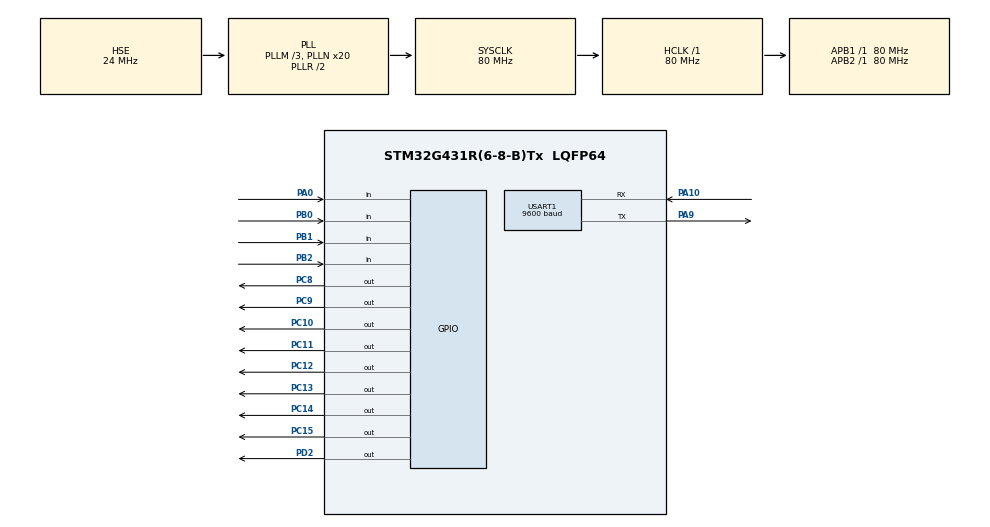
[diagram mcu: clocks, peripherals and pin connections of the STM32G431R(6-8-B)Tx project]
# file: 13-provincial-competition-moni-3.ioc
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Mcu.Family=STM32G4
Mcu.Name=STM32G431R(6-8-B)Tx
Mcu.Package=LQFP64
NVIC.PriorityGroup=NVIC_PRIORITYGROUP_4
NVIC.TIM1_UP_TIM16_IRQn=true\:0\:0\:false\:false\:true\:true\:true\:true
NVIC.TIM3_IRQn=true\:0\:0\:false\:false\:true\:true\:true\:true
NVIC.USART1_IRQn=true\:0\:0\:false\:false\:true\:true\:true\:true
PA0.GPIO_PuPd=GPIO_PULLUP
PA0.Signal=GPIO_Input
PA10.Mode=Asynchronous
PA10.Signal=USART1_RX
PA13.Mode=Serial_Wire
PA13.Signal=SYS_JTMS-SWDIO
PA14.Mode=Serial_Wire
PA14.Signal=SYS_JTCK-SWCLK
PA9.Mode=Asynchronous
PA9.Signal=USART1_TX
PB0.GPIO_PuPd=GPIO_PULLUP
PB0.Signal=GPIO_Input
PB1.GPIO_PuPd=GPIO_PULLUP
PB1.Signal=GPIO_Input
PB2.GPIO_PuPd=GPIO_PULLUP
PB2.Signal=GPIO_Input
PC10.PinState=GPIO_PIN_SET
PC10.Signal=GPIO_Output
PC11.PinState=GPIO_PIN_SET
PC11.Signal=GPIO_Output
PC12.PinState=GPIO_PIN_SET
PC12.Signal=GPIO_Output
PC13.PinState=GPIO_PIN_SET
PC13.Signal=GPIO_Output
PC14-OSC32_IN.PinState=GPIO_PIN_SET
PC14-OSC32_IN.Signal=GPIO_Output
PC15-OSC32_OUT.PinState=GPIO_PIN_SET
PC15-OSC32_OUT.Signal=GPIO_Output
PC8.PinState=GPIO_PIN_SET
PC8.Signal=GPIO_Output
PC9.PinState=GPIO_PIN_SET
PC9.Signal=GPIO_Output
PD2.Signal=GPIO_Output
PF0-OSC_IN.Mode=HSE-External-Oscillator
PF0-OSC_IN.Signal=RCC_OSC_IN
PF1-OSC_OUT.Mode=HSE-External-Oscillator
PF1-OSC_OUT.Signal=RCC_OSC_OUT
ProjectManager.HeapSize=0x200
ProjectManager.StackSize=0x400
ProjectManager.TargetToolchain=MDK-ARM V5.32
RCC.ADC12Freq_Value=80000000
RCC.AHBFreq_Value=80000000
RCC.APB1Freq_Value=80000000
RCC.APB1TimFreq_Value=80000000
RCC.APB2Freq_Value=80000000
RCC.APB2TimFreq_Value=80000000
RCC.CortexFreq_Value=80000000
RCC.EXTERNAL_CLOCK_VALUE=12288000
RCC.HCLKFreq_Value=80000000
RCC.HSE_VALUE=24000000
RCC.HSI48_VALUE=48000000
RCC.HSI_VALUE=16000000
RCC.LSE_VALUE=32768
RCC.PLLM=RCC_PLLM_DIV3
RCC.PLLN=20
RCC.PLLSourceVirtual=RCC_PLLSOURCE_HSE
RCC.SYSCLKFreq_VALUE=80000000
RCC.SYSCLKSource=RCC_SYSCLKSOURCE_PLLCLK
RCC.USBFreq_Value=80000000
RCC.VCOOutputFreq_Value=160000000
TIM16.Prescaler=80-1
TIM3.PeriodNoDither=10000-1
TIM3.Prescaler=8000-1
TIM4.Prescaler=8000-1
USART1.BaudRate=9600
USART1.VirtualMode-Asynchronous=VM_ASYNC
VP_SYS_VS_DBSignals.Mode=DisableDeadBatterySignals
VP_TIM16_VS_ClockSourceINT.Mode=Enable_Timer
VP_TIM3_VS_ClockSourceINT.Mode=Internal
VP_TIM4_VS_ClockSourceINT.Mode=Internal
board=custom

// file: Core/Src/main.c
/* USER CODE BEGIN Header */
/**
  ******************************************************************************
  * @file           : main.c
  * @brief          : Main program body
  ******************************************************************************
  * @attention
  *
  * Copyright (c) 2025 STMicroelectronics.
  * All rights reserved.
  *
  * This software is licensed under terms that can be found in the LICENSE file
  * in the root directory of this software component.
  * If no LICENSE file comes with this software, it is provided AS-IS.
  *
  ******************************************************************************
  */
/* USER CODE END Header */
#include "main.h"
#include "tim.h"
#include "usart.h"
#include "gpio.h"

/* USER CODE BEGIN Includes */
#include "stdio.h"
#include "stdint.h"
#include "string.h"
#include "lcd.h"
/* USER CODE END Includes */

/* USER CODE BEGIN PV */
char text[20];
double V=0;
uint16_t F=0, N=0;
uint8_t rec_data, count=0, rec_falg=0;
char send_buff[255], rec_buff[255];
uint8_t led1_flag=0, led1_cnt=0, led2_flag=0;
/* USER CODE END PV */

void SystemClock_Config(void);
/* USER CODE BEGIN PFP */
void LCD_Proc(void);
void LED_Proc(void);
void USART_Proc(void);
void LED_Show(uint8_t led, uint8_t mode);
/* USER CODE END PFP */

int main(void)
{

  /* MCU Configuration--------------------------------------------------------*/

  /* Reset of all peripherals, Initializes the Flash interface and the Systick. */
  HAL_Init();

  /* Configure the system clock */
  SystemClock_Config();

  /* Initialize all configured peripherals */
  MX_GPIO_Init();
  MX_USART1_UART_Init();
  MX_TIM4_Init();
  MX_TIM3_Init();
  MX_TIM16_Init();
  /* USER CODE BEGIN 2 */
    // LCD
    LCD_Init();
    LCD_Clear(Black);
    LCD_SetBackColor(Black);
    LCD_SetTextColor(White);
    // TIM
    HAL_TIM_Base_Start(&htim4);
    HAL_TIM_Base_Start_IT(&htim3);
    // UART
    HAL_UART_Receive_IT(&huart1, &rec_data, 1);
  /* USER CODE END 2 */

  /* Infinite loop */
  /* USER CODE BEGIN WHILE */
  while (1)
  {
      LCD_Proc();
      USART_Proc();
      LED_Proc();
    /* USER CODE END WHILE */

  }
}

void SystemClock_Config(void)
{
  RCC_OscInitTypeDef RCC_OscInitStruct = {0};
  RCC_ClkInitTypeDef RCC_ClkInitStruct = {0};

  /** Configure the main internal regulator output voltage
  */
  HAL_PWREx_ControlVoltageScaling(PWR_REGULATOR_VOLTAGE_SCALE1);

  /** Initializes the RCC Oscillators according to the specified parameters
  * in the RCC_OscInitTypeDef structure.
  */
  RCC_OscInitStruct.OscillatorType = RCC_OSCILLATORTYPE_HSE;
  RCC_OscInitStruct.HSEState = RCC_HSE_ON;
  RCC_OscInitStruct.PLL.PLLState = RCC_PLL_ON;
  RCC_OscInitStruct.PLL.PLLSource = RCC_PLLSOURCE_HSE;
  RCC_OscInitStruct.PLL.PLLM = RCC_PLLM_DIV3;
  RCC_OscInitStruct.PLL.PLLN = 20;
  RCC_OscInitStruct.PLL.PLLP = RCC_PLLP_DIV2;
  RCC_OscInitStruct.PLL.PLLQ = RCC_PLLQ_DIV2;
  RCC_OscInitStruct.PLL.PLLR = RCC_PLLR_DIV2;
  if (HAL_RCC_OscConfig(&RCC_OscInitStruct) != HAL_OK)
  {
    Error_Handler();
  }

  /** Initializes the CPU, AHB and APB buses clocks
  */
  RCC_ClkInitStruct.ClockType = RCC_CLOCKTYPE_HCLK|RCC_CLOCKTYPE_SYSCLK
                              |RCC_CLOCKTYPE_PCLK1|RCC_CLOCKTYPE_PCLK2;
  RCC_ClkInitStruct.SYSCLKSource = RCC_SYSCLKSOURCE_PLLCLK;
  RCC_ClkInitStruct.AHBCLKDivider = RCC_SYSCLK_DIV1;
  RCC_ClkInitStruct.APB1CLKDivider = RCC_HCLK_DIV1;
  RCC_ClkInitStruct.APB2CLKDivider = RCC_HCLK_DIV1;

  if (HAL_RCC_ClockConfig(&RCC_ClkInitStruct, FLASH_LATENCY_2) != HAL_OK)
  {
    Error_Handler();
  }
}

/* USER CODE BEGIN 4 */
void LCD_Proc(void){
    sprintf(text, "        DATA        ");
    LCD_DisplayStringLine(Line2, (uint8_t*)text);
    sprintf(text, "    V:%.2fV         ", V);
    LCD_DisplayStringLine(Line4, (uint8_t*)text);
    sprintf(text, "    F:%dHz", F);
    LCD_DisplayStringLine(Line5, (uint8_t*)text);
    sprintf(text, "    N:%d", N);
    LCD_DisplayStringLine(Line6, (uint8_t*)text);
}
void USART_Proc(void){
    if(rec_falg){
        if(TIM4->CNT>15){
            if(strcmp(rec_buff, "@")==0){
                sprintf(send_buff, "V:%.2fV\r\n", V);
                HAL_UART_Transmit(&huart1, (uint8_t*)send_buff, strlen(send_buff), 50);
                N++;
                led1_flag=1;
                led2_flag=0;
            }else if(strcmp(rec_buff, "#")==0){
                sprintf(send_buff, "F:%dHz\r\n", F);
                HAL_UART_Transmit(&huart1, (uint8_t*)send_buff, strlen(send_buff), 50);
                N++;
                led1_flag=1;
                led2_flag=0;
            }else{
                if(strlen(rec_buff)>0){
                    sprintf(send_buff, "error\r\n");
                    HAL_UART_Transmit(&huart1, (uint8_t*)send_buff, strlen(send_buff), 50);
                }
                led2_flag=1;
            }
        }
        memset(rec_buff, 0, sizeof(rec_buff));
        count=0;
        rec_falg=0;
        HAL_UART_Receive_IT(&huart1, &rec_data, 1);
    }
}
void LED_Show(uint8_t led, uint8_t mode){
    if(mode){
        HAL_GPIO_WritePin(GPIOC, led<<8, GPIO_PIN_RESET);
        HAL_GPIO_WritePin(GPIOD, GPIO_PIN_2, GPIO_PIN_SET);
        HAL_GPIO_WritePin(GPIOD, GPIO_PIN_2, GPIO_PIN_RESET);
    }else{
        HAL_GPIO_WritePin(GPIOC, led<<8, GPIO_PIN_SET);
        HAL_GPIO_WritePin(GPIOD, GPIO_PIN_2, GPIO_PIN_SET);
        HAL_GPIO_WritePin(GPIOD, GPIO_PIN_2, GPIO_PIN_RESET);
    }
}
void LED_Proc(void){
    if(led1_cnt==3){
        led1_flag=0;
        led1_cnt=0;
    }
    LED_Show(0x01, led1_flag);
    LED_Show(0x02, led2_flag);
}
void HAL_UART_RxCpltCallback(UART_HandleTypeDef *huart){
    if(huart->Instance==USART1){
        TIM4->CNT=0;
        rec_buff[count]=rec_data;
        count++;
        rec_falg=1;
        HAL_UART_Receive_IT(huart, &rec_data, 1);
    }
}
void HAL_TIM_PeriodElapsedCallback(TIM_HandleTypeDef *htim){
    if(htim->Instance==TIM3){
        if(led1_flag){
            led1_cnt++;
        }
    }
}
/* USER CODE END 4 */

void Error_Handler(void)
{
  __disable_irq();
  while (1)
  {
  }
}
